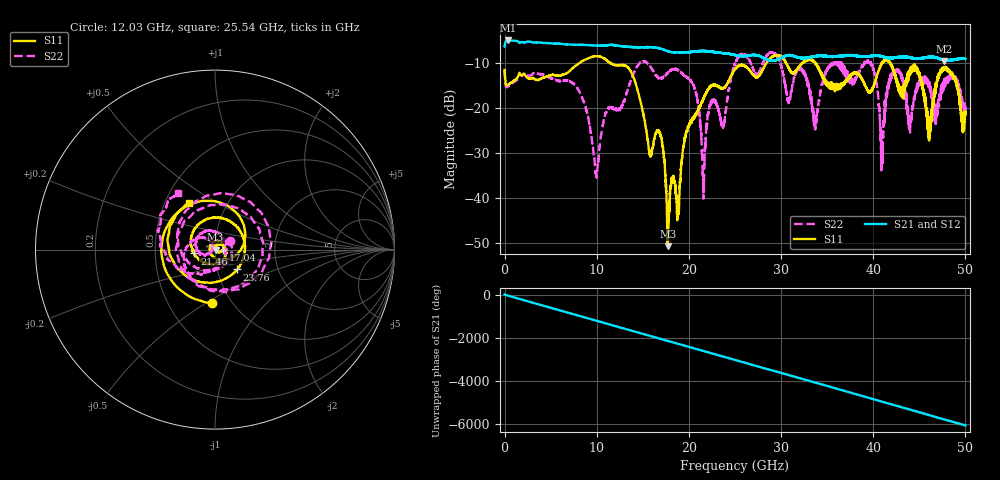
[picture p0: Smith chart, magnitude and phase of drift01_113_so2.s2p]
!Created with skrf (http://scikit-rf.org).
# Hz S RI R 50.0
!freq ReS11 ImS11 ReS21 ImS21 ReS12 ImS12 ReS22 ImS22
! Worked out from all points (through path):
!   10001 points, 300 kHz to 50 GHz, reference 50 ohm
!   highest |S21| = -5.05 dB at 345.3 MHz (marker M1); lowest = -9.6 dB at 47.71 GHz (marker M2)
!   group delay of S21, straight-line fit = 336 ps
!   lowest |S11| = -50.7 dB at 17.7 GHz (marker M3), VSWR 1.01, Z = 50.3 - j0.0498 ohm
!   |S11| at or under -10 dB: start of sweep to 8.155 GHz; 11.43 GHz to 28.42 GHz (16.99 GHz wide, 85.3 % of centre); 41.8 GHz to end of sweep (the widest 3 of 12)
!   |S22| runs from -40.2 to -7.6 dB; largest |S21 - S12| = 0.016
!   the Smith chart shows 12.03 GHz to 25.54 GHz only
!   S11 on the Smith chart (normalised r, x): 12.03 GHz: 0.81, -0.53; 17.04 GHz: 1.09, -0.01; 21.46 GHz: 0.79, -0.03; 23.76 GHz: 1.24, -0.28; 25.54 GHz: 0.66, +0.38
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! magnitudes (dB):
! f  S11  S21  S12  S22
! 300 kHz  -11.6  -6.4  -6.5  -11.7
! 345.3 MHz  -14.9  -5.1  -5.1  -15.3
! 8.335 GHz  -9.8  -6.0  -6.0  -17.5
! 9.945 GHz  -8.6  -6.2  -6.2  -34.6
! 12.03 GHz  -10.5  -6.1  -6.1  -20.4
! 16.67 GHz  -24.9  -6.7  -6.7  -13.3
! 17.04 GHz  -27.1  -6.9  -6.9  -13.5
! 17.7 GHz  -50.7  -7.4  -7.4  -12.2
! 20.49 GHz  -22.5  -7.5  -7.6  -15.0
! 21.46 GHz  -18.7  -7.4  -7.4  -31.1
! 22.46 GHz  -15.1  -7.5  -7.5  -18.8
! 23.76 GHz  -15.6  -7.9  -7.9  -23.7
! 25 GHz  -11.4  -8.3  -8.3  -10.2
! 25.54 GHz  -10.5  -8.5  -8.5  -8.4
! 33.34 GHz  -9.4  -8.7  -8.7  -19.6
! 39.49 GHz  -16.4  -8.5  -8.5  -9.8
! 40.95 GHz  -10.2  -8.6  -8.5  -30.0
! 41.67 GHz  -9.6  -8.8  -8.9  -14.8
! 44.71 GHz  -11.2  -9.1  -9.1  -15.6
! 46.1 GHz  -24.5  -8.7  -8.7  -15.1
! 47.71 GHz  -11.3  -9.6  -9.6  -13.7
! 50 GHz  -21.5  -9.1  -9.1  -20.4
